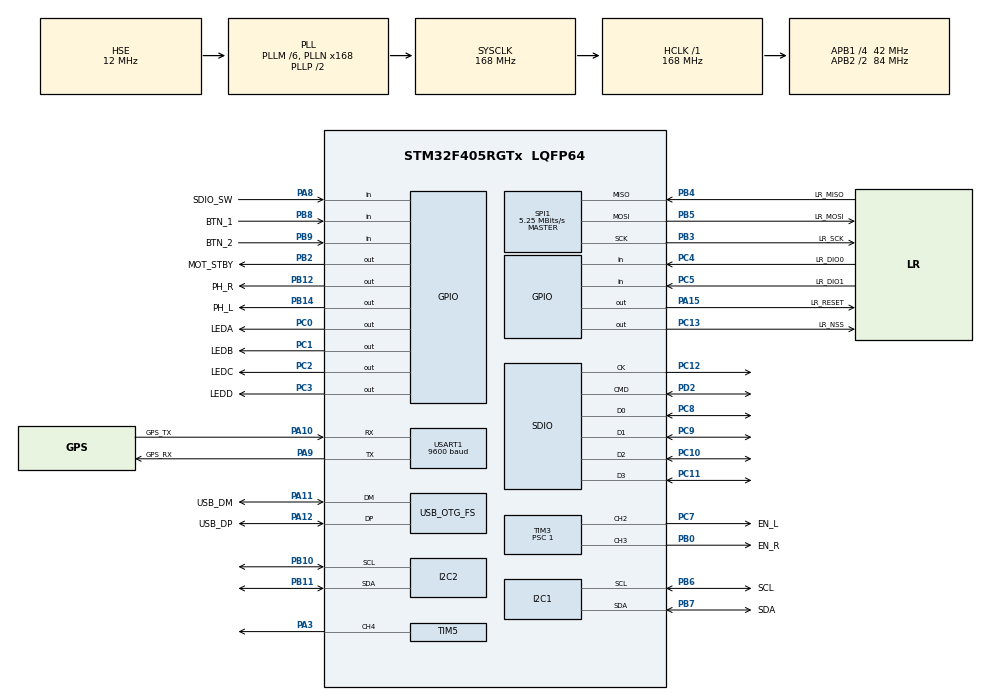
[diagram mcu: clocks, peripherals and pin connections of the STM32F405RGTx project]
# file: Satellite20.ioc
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Dma.Request0=SDIO_RX
Dma.Request1=SDIO_TX
Dma.SDIO_RX.0.Direction=DMA_PERIPH_TO_MEMORY
Dma.SDIO_RX.0.FIFOMode=DMA_FIFOMODE_ENABLE
Dma.SDIO_RX.0.FIFOThreshold=DMA_FIFO_THRESHOLD_FULL
Dma.SDIO_RX.0.Instance=DMA2_Stream3
Dma.SDIO_RX.0.MemBurst=DMA_MBURST_INC4
Dma.SDIO_RX.0.MemDataAlignment=DMA_MDATAALIGN_WORD
Dma.SDIO_RX.0.MemInc=DMA_MINC_ENABLE
Dma.SDIO_RX.0.Mode=DMA_PFCTRL
Dma.SDIO_RX.0.PeriphBurst=DMA_PBURST_INC4
Dma.SDIO_RX.0.PeriphDataAlignment=DMA_PDATAALIGN_WORD
Dma.SDIO_RX.0.PeriphInc=DMA_PINC_DISABLE
Dma.SDIO_RX.0.Priority=DMA_PRIORITY_LOW
Dma.SDIO_TX.1.Direction=DMA_MEMORY_TO_PERIPH
Dma.SDIO_TX.1.FIFOMode=DMA_FIFOMODE_ENABLE
Dma.SDIO_TX.1.FIFOThreshold=DMA_FIFO_THRESHOLD_FULL
Dma.SDIO_TX.1.Instance=DMA2_Stream6
Dma.SDIO_TX.1.MemBurst=DMA_MBURST_INC4
Dma.SDIO_TX.1.MemDataAlignment=DMA_MDATAALIGN_WORD
Dma.SDIO_TX.1.MemInc=DMA_MINC_ENABLE
Dma.SDIO_TX.1.Mode=DMA_PFCTRL
Dma.SDIO_TX.1.PeriphBurst=DMA_PBURST_INC4
Dma.SDIO_TX.1.PeriphDataAlignment=DMA_PDATAALIGN_WORD
Dma.SDIO_TX.1.PeriphInc=DMA_PINC_DISABLE
Dma.SDIO_TX.1.Priority=DMA_PRIORITY_LOW
FATFS.BSP.number=1
FATFS.USE_DMA_CODE_SD=1
FATFS._MAX_SS=4096
FATFS0.BSP.STBoard=false
FATFS0.BSP.api=Unknown
FATFS0.BSP.i2caddr=0
FATFS0.BSP.instance=PA8
FATFS0.BSP.ip=GPIO
FATFS0.BSP.mode=Input
FATFS0.BSP.name=Detect_SDIO
FATFS0.BSP.solution=PA8
I2C1.I2C_Mode=I2C_Fast
I2C2.OwnAddress=0
Mcu.Family=STM32F4
Mcu.Name=STM32F405RGTx
Mcu.Package=LQFP64
NVIC.DMA2_Stream3_IRQn=true\:0\:0\:false\:false\:true\:false\:true
NVIC.DMA2_Stream6_IRQn=true\:0\:0\:false\:false\:true\:false\:true
NVIC.OTG_FS_IRQn=true\:0\:0\:false\:false\:true\:false\:true
NVIC.PriorityGroup=NVIC_PRIORITYGROUP_4
NVIC.SDIO_IRQn=true\:0\:0\:false\:false\:true\:true\:true
NVIC.USART1_IRQn=true\:0\:0\:false\:false\:true\:true\:true
PA1.Signal=S_TIM5_CH2
PA10.GPIO_Label=GPS_TX
PA10.Mode=Asynchronous
PA10.Signal=USART1_RX
PA11.GPIO_Label=USB_DM
PA11.Mode=Device_Only
PA11.Signal=USB_OTG_FS_DM
PA12.GPIO_Label=USB_DP
PA12.Mode=Device_Only
PA12.Signal=USB_OTG_FS_DP
PA13.GPIO_Label=SWDIO
PA13.Mode=Serial_Wire
PA13.Signal=SYS_JTMS-SWDIO
PA14.GPIO_Label=SWCLK
PA14.Mode=Serial_Wire
PA14.Signal=SYS_JTCK-SWCLK
PA15.GPIO_Label=LR_RESET
PA15.GPIO_PuPd=GPIO_PULLDOWN
PA15.Signal=GPIO_Output
PA3.Signal=S_TIM5_CH4
PA8.GPIO_Label=SDIO_SW
PA8.GPIO_PuPd=GPIO_PULLUP
PA8.Signal=GPIO_Input
PA9.GPIO_Label=GPS_RX
PA9.Mode=Asynchronous
PA9.Signal=USART1_TX
PB0.GPIO_Label=EN_R
PB0.Signal=S_TIM3_CH3
PB10.Mode=I2C
PB10.Signal=I2C2_SCL
PB11.Mode=I2C
PB11.Signal=I2C2_SDA
PB12.GPIO_Label=PH_R
PB12.GPIO_PuPd=GPIO_PULLDOWN
PB12.Signal=GPIO_Output
PB14.GPIO_Label=PH_L
PB14.GPIO_PuPd=GPIO_PULLDOWN
PB14.Signal=GPIO_Output
PB2.GPIO_Label=MOT_STBY
PB2.Signal=GPIO_Output
PB3.GPIO_Label=LR_SCK
PB3.Mode=Full_Duplex_Master
PB3.Signal=SPI1_SCK
PB4.GPIO_Label=LR_MISO
PB4.Mode=Full_Duplex_Master
PB4.Signal=SPI1_MISO
PB5.GPIO_Label=LR_MOSI
PB5.Mode=Full_Duplex_Master
PB5.Signal=SPI1_MOSI
PB6.GPIO_Label=SCL
PB6.GPIO_PuPdOD=GPIO_NOPULL
PB6.Mode=I2C
PB6.Signal=I2C1_SCL
PB7.GPIO_Label=SDA
PB7.GPIO_PuPdOD=GPIO_NOPULL
PB7.Mode=I2C
PB7.Signal=I2C1_SDA
PB8.GPIO_Label=BTN_1
PB8.GPIO_PuPd=GPIO_PULLDOWN
PB8.Signal=GPIO_Input
PB9.GPIO_Label=BTN_2
PB9.GPIO_PuPd=GPIO_PULLDOWN
PB9.Signal=GPIO_Input
PC0.GPIO_Label=LEDA
PC0.Signal=GPIO_Output
PC1.GPIO_Label=LEDB
PC1.Signal=GPIO_Output
PC10.GPIO_PuPd=GPIO_PULLUP
PC10.Mode=SD_4_bits_Wide_bus
PC10.Signal=SDIO_D2
PC11.Mode=SD_4_bits_Wide_bus
PC11.Signal=SDIO_D3
PC12.Mode=SD_4_bits_Wide_bus
PC12.Signal=SDIO_CK
PC13-ANTI_TAMP.GPIO_Label=LR_NSS
PC13-ANTI_TAMP.GPIO_PuPd=GPIO_PULLDOWN
PC13-ANTI_TAMP.Signal=GPIO_Output
PC14-OSC32_IN.GPIO_Label=LSE_IN
PC14-OSC32_IN.Mode=LSE-External-Oscillator
PC14-OSC32_IN.Signal=RCC_OSC32_IN
PC15-OSC32_OUT.GPIO_Label=LSE_OUT
PC15-OSC32_OUT.Mode=LSE-External-Oscillator
PC15-OSC32_OUT.Signal=RCC_OSC32_OUT
PC2.GPIO_Label=LEDC
PC2.Signal=GPIO_Output
PC3.GPIO_Label=LEDD
PC3.Signal=GPIO_Output
PC4.GPIO_Label=LR_DIO0
PC4.GPIO_PuPd=GPIO_PULLDOWN
PC4.Signal=GPIO_Input
PC5.GPIO_Label=LR_DIO1
PC5.GPIO_PuPd=GPIO_PULLDOWN
PC5.Signal=GPIO_Input
PC7.GPIO_Label=EN_L
PC7.Signal=S_TIM3_CH2
PC8.GPIO_PuPd=GPIO_PULLUP
PC8.Mode=SD_4_bits_Wide_bus
PC8.Signal=SDIO_D0
PC9.GPIO_PuPd=GPIO_PULLUP
PC9.Mode=SD_4_bits_Wide_bus
PC9.Signal=SDIO_D1
PD2.GPIO_PuPd=GPIO_PULLUP
PD2.Mode=SD_4_bits_Wide_bus
PD2.Signal=SDIO_CMD
PH0-OSC_IN.GPIO_Label=HSE_IN
PH0-OSC_IN.Mode=HSE-External-Oscillator
PH0-OSC_IN.Signal=RCC_OSC_IN
PH1-OSC_OUT.GPIO_Label=HSE_OUT
PH1-OSC_OUT.Mode=HSE-External-Oscillator
PH1-OSC_OUT.Signal=RCC_OSC_OUT
ProjectManager.HeapSize=0x200
ProjectManager.StackSize=0x400
ProjectManager.TargetToolchain=STM32CubeIDE
RCC.48MHZClocksFreq_Value=48000000
RCC.AHBFreq_Value=168000000
RCC.APB1CLKDivider=RCC_HCLK_DIV4
RCC.APB1Freq_Value=42000000
RCC.APB1TimFreq_Value=84000000
RCC.APB2CLKDivider=RCC_HCLK_DIV2
RCC.APB2Freq_Value=84000000
RCC.APB2TimFreq_Value=168000000
RCC.CortexFreq_Value=168000000
RCC.HCLKFreq_Value=168000000
RCC.HSE_VALUE=12000000
RCC.HSI_VALUE=16000000
RCC.PLLM=6
RCC.PLLN=168
RCC.PLLQ=7
RCC.RCC_RTC_Clock_Source=RCC_RTCCLKSOURCE_LSE
RCC.RCC_RTC_Clock_SourceVirtual=RCC_RTCCLKSOURCE_LSE
RCC.SYSCLKFreq_VALUE=168000000
RCC.SYSCLKSource=RCC_SYSCLKSOURCE_PLLCLK
RCC.VCOOutputFreq_Value=336000000
SH.S_TIM3_CH2.0=TIM3_CH2,PWM Generation2 CH2
SH.S_TIM3_CH3.0=TIM3_CH3,PWM Generation3 CH3
SH.S_TIM5_CH2.0=TIM5_CH2
SH.S_TIM5_CH4.0=TIM5_CH4,PWM Generation4 CH4
SPI1.BaudRatePrescaler=SPI_BAUDRATEPRESCALER_16
SPI1.CRCCalculation=SPI_CRCCALCULATION_DISABLE
SPI1.CalculateBaudRate=5.25 MBits/s
SPI1.Direction=SPI_DIRECTION_2LINES
SPI1.Mode=SPI_MODE_MASTER
SPI1.VirtualType=VM_MASTER
TIM2.Period=4200000000
TIM2.Prescaler=83
TIM3.Channel-PWM\ Generation2\ CH2=TIM_CHANNEL_2
TIM3.Channel-PWM\ Generation3\ CH3=TIM_CHANNEL_3
TIM3.OCPolarity_2=TIM_OCPOLARITY_LOW
TIM3.OCPolarity_3=TIM_OCPOLARITY_LOW
TIM3.Period=1023
TIM3.Prescaler=1
TIM3.Pulse-PWM\ Generation3\ CH3=0
TIM5.Channel-PWM\ Generation4\ CH4=TIM_CHANNEL_4
TIM5.CounterMode=TIM_COUNTERMODE_UP
TIM5.Period=10000
TIM5.Prescaler=167
USART1.BaudRate=9600
USART1.VirtualMode=VM_ASYNC
USB_DEVICE.CLASS_NAME_FS=CDC
USB_DEVICE.PRODUCT_STRING_CDC_FS=Czopolot
USB_DEVICE.VirtualMode-CDC_FS=Cdc
USB_DEVICE.VirtualModeFS=Cdc_FS
USB_OTG_FS.VirtualMode=Device_Only
VP_FATFS_VS_SDIO.Mode=SDIO
VP_RTC_VS_RTC_Activate.Mode=RTC_Enabled
VP_TIM2_VS_ClockSourceINT.Mode=Internal
VP_TIM3_VS_ClockSourceINT.Mode=Internal
VP_TIM5_VS_ClockSourceINT.Mode=Internal
VP_USB_DEVICE_VS_USB_DEVICE_CDC_FS.Mode=CDC_FS
board=custom

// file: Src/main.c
/* USER CODE BEGIN Header */
/**
  ******************************************************************************
  * @file           : main.c
  * @brief          : Main program body
  ******************************************************************************
  * @attention
  *
  * <h2><center>&copy; Copyright (c) 2020 STMicroelectronics.
  * All rights reserved.</center></h2>
  *
  * This software component is licensed by ST under BSD 3-Clause license,
  * the "License"; You may not use this file except in compliance with the
  * License. You may obtain a copy of the License at:
  *                        opensource.org/licenses/BSD-3-Clause
  *
  ******************************************************************************
  */
/* USER CODE END Header */

#include "main.h"
#include "fatfs.h"
#include "usb_device.h"

/* USER CODE BEGIN Includes */
#include "run.c"
#include "gps.h"
/* USER CODE END Includes */

I2C_HandleTypeDef hi2c1;
I2C_HandleTypeDef hi2c2;

RTC_HandleTypeDef hrtc;

SD_HandleTypeDef hsd;
DMA_HandleTypeDef hdma_sdio_rx;
DMA_HandleTypeDef hdma_sdio_tx;

SPI_HandleTypeDef hspi1;

TIM_HandleTypeDef htim2;
TIM_HandleTypeDef htim3;
TIM_HandleTypeDef htim5;

UART_HandleTypeDef huart1;

void SystemClock_Config(void);
static void MX_GPIO_Init(void);
static void MX_DMA_Init(void);
static void MX_I2C1_Init(void);
static void MX_RTC_Init(void);
static void MX_SDIO_SD_Init(void);
static void MX_SPI1_Init(void);
static void MX_TIM2_Init(void);
static void MX_TIM3_Init(void);
static void MX_TIM5_Init(void);
static void MX_USART1_UART_Init(void);
static void MX_I2C2_Init(void);

/* USER CODE BEGIN 0 */

void HAL_UART_RxCpltCallback(UART_HandleTypeDef* huart)
{
	//if (huart == Common.gps.uart)
	//{
	//println("Got someting");
		HAL_UART_Receive_IT(huart, Common.gps.uartBuffer, 1);
		GPS_read(&Common.gps);
	//}
}

/* USER CODE END 0 */

int main(void)
{

  /* MCU Configuration--------------------------------------------------------*/

  /* Reset of all peripherals, Initializes the Flash interface and the Systick. */
  HAL_Init();

  /* Configure the system clock */
  SystemClock_Config();

  /* Initialize all configured peripherals */
  MX_GPIO_Init();
  MX_DMA_Init();
  MX_I2C1_Init();
  MX_RTC_Init();
  MX_SDIO_SD_Init();
  MX_SPI1_Init();
  MX_TIM2_Init();
  MX_TIM3_Init();
  MX_TIM5_Init();
  MX_FATFS_Init();
  MX_USB_DEVICE_Init();
  MX_USART1_UART_Init();
  MX_I2C2_Init();
  /* USER CODE BEGIN 2 */

	// Start millisecond timer
	HAL_TIM_Base_Start(&htim2);

	HAL_TIM_PWM_Start(&htim5, TIM_CHANNEL_4);

	// Setup pins
	writePin(LEDA, LOW);
	writePin(LEDB, LOW);
	writePin(LEDC, LOW);
	writePin(LEDD, LOW);

	// Execute code
	setup();

  /* USER CODE END 2 */

  /* Infinite loop */
  while (1)
  {

    /* USER CODE BEGIN 3 */
	  // Execute code
	  	loop();
  }
  /* USER CODE END 3 */
}

void SystemClock_Config(void)
{
  RCC_OscInitTypeDef RCC_OscInitStruct = {0};
  RCC_ClkInitTypeDef RCC_ClkInitStruct = {0};
  RCC_PeriphCLKInitTypeDef PeriphClkInitStruct = {0};

  /** Configure the main internal regulator output voltage
  */
  __HAL_RCC_PWR_CLK_ENABLE();
  __HAL_PWR_VOLTAGESCALING_CONFIG(PWR_REGULATOR_VOLTAGE_SCALE1);
  /** Initializes the CPU, AHB and APB busses clocks
  */
  RCC_OscInitStruct.OscillatorType = RCC_OSCILLATORTYPE_HSE|RCC_OSCILLATORTYPE_LSE;
  RCC_OscInitStruct.HSEState = RCC_HSE_ON;
  RCC_OscInitStruct.LSEState = RCC_LSE_ON;
  RCC_OscInitStruct.PLL.PLLState = RCC_PLL_ON;
  RCC_OscInitStruct.PLL.PLLSource = RCC_PLLSOURCE_HSE;
  RCC_OscInitStruct.PLL.PLLM = 6;
  RCC_OscInitStruct.PLL.PLLN = 168;
  RCC_OscInitStruct.PLL.PLLP = RCC_PLLP_DIV2;
  RCC_OscInitStruct.PLL.PLLQ = 7;
  if (HAL_RCC_OscConfig(&RCC_OscInitStruct) != HAL_OK)
  {
    Error_Handler();
  }
  /** Initializes the CPU, AHB and APB busses clocks
  */
  RCC_ClkInitStruct.ClockType = RCC_CLOCKTYPE_HCLK|RCC_CLOCKTYPE_SYSCLK
                              |RCC_CLOCKTYPE_PCLK1|RCC_CLOCKTYPE_PCLK2;
  RCC_ClkInitStruct.SYSCLKSource = RCC_SYSCLKSOURCE_PLLCLK;
  RCC_ClkInitStruct.AHBCLKDivider = RCC_SYSCLK_DIV1;
  RCC_ClkInitStruct.APB1CLKDivider = RCC_HCLK_DIV4;
  RCC_ClkInitStruct.APB2CLKDivider = RCC_HCLK_DIV2;

  if (HAL_RCC_ClockConfig(&RCC_ClkInitStruct, FLASH_LATENCY_5) != HAL_OK)
  {
    Error_Handler();
  }
  PeriphClkInitStruct.PeriphClockSelection = RCC_PERIPHCLK_RTC;
  PeriphClkInitStruct.RTCClockSelection = RCC_RTCCLKSOURCE_LSE;
  if (HAL_RCCEx_PeriphCLKConfig(&PeriphClkInitStruct) != HAL_OK)
  {
    Error_Handler();
  }
}

static void MX_I2C1_Init(void)
{

  hi2c1.Instance = I2C1;
  hi2c1.Init.ClockSpeed = 400000;
  hi2c1.Init.DutyCycle = I2C_DUTYCYCLE_2;
  hi2c1.Init.OwnAddress1 = 0;
  hi2c1.Init.AddressingMode = I2C_ADDRESSINGMODE_7BIT;
  hi2c1.Init.DualAddressMode = I2C_DUALADDRESS_DISABLE;
  hi2c1.Init.OwnAddress2 = 0;
  hi2c1.Init.GeneralCallMode = I2C_GENERALCALL_DISABLE;
  hi2c1.Init.NoStretchMode = I2C_NOSTRETCH_DISABLE;
  if (HAL_I2C_Init(&hi2c1) != HAL_OK)
  {
    Error_Handler();
  }

}

static void MX_I2C2_Init(void)
{

  hi2c2.Instance = I2C2;
  hi2c2.Init.ClockSpeed = 100000;
  hi2c2.Init.DutyCycle = I2C_DUTYCYCLE_2;
  hi2c2.Init.OwnAddress1 = 0;
  hi2c2.Init.AddressingMode = I2C_ADDRESSINGMODE_7BIT;
  hi2c2.Init.DualAddressMode = I2C_DUALADDRESS_DISABLE;
  hi2c2.Init.OwnAddress2 = 0;
  hi2c2.Init.GeneralCallMode = I2C_GENERALCALL_DISABLE;
  hi2c2.Init.NoStretchMode = I2C_NOSTRETCH_DISABLE;
  if (HAL_I2C_Init(&hi2c2) != HAL_OK)
  {
    Error_Handler();
  }

}

static void MX_RTC_Init(void)
{

  /** Initialize RTC Only
  */
  hrtc.Instance = RTC;
  hrtc.Init.HourFormat = RTC_HOURFORMAT_24;
  hrtc.Init.AsynchPrediv = 127;
  hrtc.Init.SynchPrediv = 255;
  hrtc.Init.OutPut = RTC_OUTPUT_DISABLE;
  hrtc.Init.OutPutPolarity = RTC_OUTPUT_POLARITY_HIGH;
  hrtc.Init.OutPutType = RTC_OUTPUT_TYPE_OPENDRAIN;
  if (HAL_RTC_Init(&hrtc) != HAL_OK)
  {
    Error_Handler();
  }

}

static void MX_SDIO_SD_Init(void)
{

  hsd.Instance = SDIO;
  hsd.Init.ClockEdge = SDIO_CLOCK_EDGE_RISING;
  hsd.Init.ClockBypass = SDIO_CLOCK_BYPASS_DISABLE;
  hsd.Init.ClockPowerSave = SDIO_CLOCK_POWER_SAVE_DISABLE;
  hsd.Init.BusWide = SDIO_BUS_WIDE_1B;
  hsd.Init.HardwareFlowControl = SDIO_HARDWARE_FLOW_CONTROL_DISABLE;
  hsd.Init.ClockDiv = 0;

}

static void MX_SPI1_Init(void)
{

  /* SPI1 parameter configuration*/
  hspi1.Instance = SPI1;
  hspi1.Init.Mode = SPI_MODE_MASTER;
  hspi1.Init.Direction = SPI_DIRECTION_2LINES;
  hspi1.Init.DataSize = SPI_DATASIZE_8BIT;
  hspi1.Init.CLKPolarity = SPI_POLARITY_LOW;
  hspi1.Init.CLKPhase = SPI_PHASE_1EDGE;
  hspi1.Init.NSS = SPI_NSS_SOFT;
  hspi1.Init.BaudRatePrescaler = SPI_BAUDRATEPRESCALER_16;
  hspi1.Init.FirstBit = SPI_FIRSTBIT_MSB;
  hspi1.Init.TIMode = SPI_TIMODE_DISABLE;
  hspi1.Init.CRCCalculation = SPI_CRCCALCULATION_DISABLE;
  hspi1.Init.CRCPolynomial = 10;
  if (HAL_SPI_Init(&hspi1) != HAL_OK)
  {
    Error_Handler();
  }

}

static void MX_TIM2_Init(void)
{

  TIM_ClockConfigTypeDef sClockSourceConfig = {0};
  TIM_MasterConfigTypeDef sMasterConfig = {0};

  htim2.Instance = TIM2;
  htim2.Init.Prescaler = 83;
  htim2.Init.CounterMode = TIM_COUNTERMODE_UP;
  htim2.Init.Period = 4200000000;
  htim2.Init.ClockDivision = TIM_CLOCKDIVISION_DIV1;
  htim2.Init.AutoReloadPreload = TIM_AUTORELOAD_PRELOAD_DISABLE;
  if (HAL_TIM_Base_Init(&htim2) != HAL_OK)
  {
    Error_Handler();
  }
  sClockSourceConfig.ClockSource = TIM_CLOCKSOURCE_INTERNAL;
  if (HAL_TIM_ConfigClockSource(&htim2, &sClockSourceConfig) != HAL_OK)
  {
    Error_Handler();
  }
  sMasterConfig.MasterOutputTrigger = TIM_TRGO_RESET;
  sMasterConfig.MasterSlaveMode = TIM_MASTERSLAVEMODE_DISABLE;
  if (HAL_TIMEx_MasterConfigSynchronization(&htim2, &sMasterConfig) != HAL_OK)
  {
    Error_Handler();
  }

}

static void MX_TIM3_Init(void)
{

  TIM_ClockConfigTypeDef sClockSourceConfig = {0};
  TIM_MasterConfigTypeDef sMasterConfig = {0};
  TIM_OC_InitTypeDef sConfigOC = {0};

  htim3.Instance = TIM3;
  htim3.Init.Prescaler = 1;
  htim3.Init.CounterMode = TIM_COUNTERMODE_UP;
  htim3.Init.Period = 1023;
  htim3.Init.ClockDivision = TIM_CLOCKDIVISION_DIV1;
  htim3.Init.AutoReloadPreload = TIM_AUTORELOAD_PRELOAD_DISABLE;
  if (HAL_TIM_Base_Init(&htim3) != HAL_OK)
  {
    Error_Handler();
  }
  sClockSourceConfig.ClockSource = TIM_CLOCKSOURCE_INTERNAL;
  if (HAL_TIM_ConfigClockSource(&htim3, &sClockSourceConfig) != HAL_OK)
  {
    Error_Handler();
  }
  if (HAL_TIM_PWM_Init(&htim3) != HAL_OK)
  {
    Error_Handler();
  }
  sMasterConfig.MasterOutputTrigger = TIM_TRGO_RESET;
  sMasterConfig.MasterSlaveMode = TIM_MASTERSLAVEMODE_DISABLE;
  if (HAL_TIMEx_MasterConfigSynchronization(&htim3, &sMasterConfig) != HAL_OK)
  {
    Error_Handler();
  }
  sConfigOC.OCMode = TIM_OCMODE_PWM1;
  sConfigOC.Pulse = 0;
  sConfigOC.OCPolarity = TIM_OCPOLARITY_LOW;
  sConfigOC.OCFastMode = TIM_OCFAST_DISABLE;
  if (HAL_TIM_PWM_ConfigChannel(&htim3, &sConfigOC, TIM_CHANNEL_2) != HAL_OK)
  {
    Error_Handler();
  }
  if (HAL_TIM_PWM_ConfigChannel(&htim3, &sConfigOC, TIM_CHANNEL_3) != HAL_OK)
  {
    Error_Handler();
  }
  HAL_TIM_MspPostInit(&htim3);

}

static void MX_TIM5_Init(void)
{

  TIM_ClockConfigTypeDef sClockSourceConfig = {0};
  TIM_MasterConfigTypeDef sMasterConfig = {0};
  TIM_OC_InitTypeDef sConfigOC = {0};

  htim5.Instance = TIM5;
  htim5.Init.Prescaler = 167;
  htim5.Init.CounterMode = TIM_COUNTERMODE_UP;
  htim5.Init.Period = 10000;
  htim5.Init.ClockDivision = TIM_CLOCKDIVISION_DIV1;
  htim5.Init.AutoReloadPreload = TIM_AUTORELOAD_PRELOAD_DISABLE;
  if (HAL_TIM_Base_Init(&htim5) != HAL_OK)
  {
    Error_Handler();
  }
  sClockSourceConfig.ClockSource = TIM_CLOCKSOURCE_INTERNAL;
  if (HAL_TIM_ConfigClockSource(&htim5, &sClockSourceConfig) != HAL_OK)
  {
    Error_Handler();
  }
  if (HAL_TIM_PWM_Init(&htim5) != HAL_OK)
  {
    Error_Handler();
  }
  sMasterConfig.MasterOutputTrigger = TIM_TRGO_RESET;
  sMasterConfig.MasterSlaveMode = TIM_MASTERSLAVEMODE_DISABLE;
  if (HAL_TIMEx_MasterConfigSynchronization(&htim5, &sMasterConfig) != HAL_OK)
  {
    Error_Handler();
  }
  sConfigOC.OCMode = TIM_OCMODE_PWM1;
  sConfigOC.Pulse = 0;
  sConfigOC.OCPolarity = TIM_OCPOLARITY_HIGH;
  sConfigOC.OCFastMode = TIM_OCFAST_DISABLE;
  if (HAL_TIM_PWM_ConfigChannel(&htim5, &sConfigOC, TIM_CHANNEL_4) != HAL_OK)
  {
    Error_Handler();
  }
  HAL_TIM_MspPostInit(&htim5);

}

static void MX_USART1_UART_Init(void)
{

  huart1.Instance = USART1;
  huart1.Init.BaudRate = 9600;
  huart1.Init.WordLength = UART_WORDLENGTH_8B;
  huart1.Init.StopBits = UART_STOPBITS_1;
  huart1.Init.Parity = UART_PARITY_NONE;
  huart1.Init.Mode = UART_MODE_TX_RX;
  huart1.Init.HwFlowCtl = UART_HWCONTROL_NONE;
  huart1.Init.OverSampling = UART_OVERSAMPLING_16;
  if (HAL_UART_Init(&huart1) != HAL_OK)
  {
    Error_Handler();
  }

}

static void MX_DMA_Init(void)
{
  /* DMA controller clock enable */
  __HAL_RCC_DMA2_CLK_ENABLE();

  /* DMA interrupt init */
  /* DMA2_Stream3_IRQn interrupt configuration */
  HAL_NVIC_SetPriority(DMA2_Stream3_IRQn, 0, 0);
  HAL_NVIC_EnableIRQ(DMA2_Stream3_IRQn);
  /* DMA2_Stream6_IRQn interrupt configuration */
  HAL_NVIC_SetPriority(DMA2_Stream6_IRQn, 0, 0);
  HAL_NVIC_EnableIRQ(DMA2_Stream6_IRQn);

}

static void MX_GPIO_Init(void)
{
  GPIO_InitTypeDef GPIO_InitStruct = {0};

  /* GPIO Ports Clock Enable */
  __HAL_RCC_GPIOC_CLK_ENABLE();
  __HAL_RCC_GPIOH_CLK_ENABLE();
  __HAL_RCC_GPIOA_CLK_ENABLE();
  __HAL_RCC_GPIOB_CLK_ENABLE();
  __HAL_RCC_GPIOD_CLK_ENABLE();

  /*Configure GPIO pin Output Level */
  HAL_GPIO_WritePin(GPIOC, LR_NSS_Pin|LEDA_Pin|LEDB_Pin|LEDC_Pin
                          |LEDD_Pin, GPIO_PIN_RESET);

  /*Configure GPIO pin Output Level */
  HAL_GPIO_WritePin(GPIOB, MOT_STBY_Pin|PH_R_Pin|PH_L_Pin, GPIO_PIN_RESET);

  /*Configure GPIO pin Output Level */
  HAL_GPIO_WritePin(LR_RESET_GPIO_Port, LR_RESET_Pin, GPIO_PIN_RESET);

  /*Configure GPIO pin : LR_NSS_Pin */
  GPIO_InitStruct.Pin = LR_NSS_Pin;
  GPIO_InitStruct.Mode = GPIO_MODE_OUTPUT_PP;
  GPIO_InitStruct.Pull = GPIO_PULLDOWN;
  GPIO_InitStruct.Speed = GPIO_SPEED_FREQ_LOW;
  HAL_GPIO_Init(LR_NSS_GPIO_Port, &GPIO_InitStruct);

  /*Configure GPIO pins : LEDA_Pin LEDB_Pin LEDC_Pin LEDD_Pin */
  GPIO_InitStruct.Pin = LEDA_Pin|LEDB_Pin|LEDC_Pin|LEDD_Pin;
  GPIO_InitStruct.Mode = GPIO_MODE_OUTPUT_PP;
  GPIO_InitStruct.Pull = GPIO_NOPULL;
  GPIO_InitStruct.Speed = GPIO_SPEED_FREQ_LOW;
  HAL_GPIO_Init(GPIOC, &GPIO_InitStruct);

  /*Configure GPIO pins : LR_DIO0_Pin LR_DIO1_Pin */
  GPIO_InitStruct.Pin = LR_DIO0_Pin|LR_DIO1_Pin;
  GPIO_InitStruct.Mode = GPIO_MODE_INPUT;
  GPIO_InitStruct.Pull = GPIO_PULLDOWN;
  HAL_GPIO_Init(GPIOC, &GPIO_InitStruct);

  /*Configure GPIO pin : MOT_STBY_Pin */
  GPIO_InitStruct.Pin = MOT_STBY_Pin;
  GPIO_InitStruct.Mode = GPIO_MODE_OUTPUT_PP;
  GPIO_InitStruct.Pull = GPIO_NOPULL;
  GPIO_InitStruct.Speed = GPIO_SPEED_FREQ_LOW;
  HAL_GPIO_Init(MOT_STBY_GPIO_Port, &GPIO_InitStruct);

  /*Configure GPIO pins : PH_R_Pin PH_L_Pin */
  GPIO_InitStruct.Pin = PH_R_Pin|PH_L_Pin;
  GPIO_InitStruct.Mode = GPIO_MODE_OUTPUT_PP;
  GPIO_InitStruct.Pull = GPIO_PULLDOWN;
  GPIO_InitStruct.Speed = GPIO_SPEED_FREQ_LOW;
  HAL_GPIO_Init(GPIOB, &GPIO_InitStruct);

  /*Configure GPIO pin : SDIO_SW_Pin */
  GPIO_InitStruct.Pin = SDIO_SW_Pin;
  GPIO_InitStruct.Mode = GPIO_MODE_INPUT;
  GPIO_InitStruct.Pull = GPIO_PULLUP;
  HAL_GPIO_Init(SDIO_SW_GPIO_Port, &GPIO_InitStruct);

  /*Configure GPIO pin : LR_RESET_Pin */
  GPIO_InitStruct.Pin = LR_RESET_Pin;
  GPIO_InitStruct.Mode = GPIO_MODE_OUTPUT_PP;
  GPIO_InitStruct.Pull = GPIO_PULLDOWN;
  GPIO_InitStruct.Speed = GPIO_SPEED_FREQ_LOW;
  HAL_GPIO_Init(LR_RESET_GPIO_Port, &GPIO_InitStruct);

  /*Configure GPIO pins : BTN_1_Pin BTN_2_Pin */
  GPIO_InitStruct.Pin = BTN_1_Pin|BTN_2_Pin;
  GPIO_InitStruct.Mode = GPIO_MODE_INPUT;
  GPIO_InitStruct.Pull = GPIO_PULLDOWN;
  HAL_GPIO_Init(GPIOB, &GPIO_InitStruct);

}

/* USER CODE BEGIN 4 */

I2C_HandleTypeDef* Get_I2C1_Instance(void) { return &hi2c1; }
I2C_HandleTypeDef* Get_I2C2_Instance(void) { return &hi2c2; }
SPI_HandleTypeDef* Get_SPI1_Instance(void) { return &hspi1; }
UART_HandleTypeDef* Get_UART1_Instance(void) { return &huart1; }
//UART_HandleTypeDef* Get_UART2_Instance(void) { return &huart2; }
RTC_HandleTypeDef* Get_RTC_Instance(void) { return &hrtc; }
TIM_HandleTypeDef* Get_TIM2_Instance(void) { return &htim2; }
TIM_HandleTypeDef* Get_TIM3_Instance(void) { return &htim3; }
TIM_HandleTypeDef* Get_TIM5_Instance(void) { return &htim5; }

/* USER CODE END 4 */

void Error_Handler(void)
{
}

/************************ (C) COPYRIGHT STMicroelectronics *****END OF FILE****/
